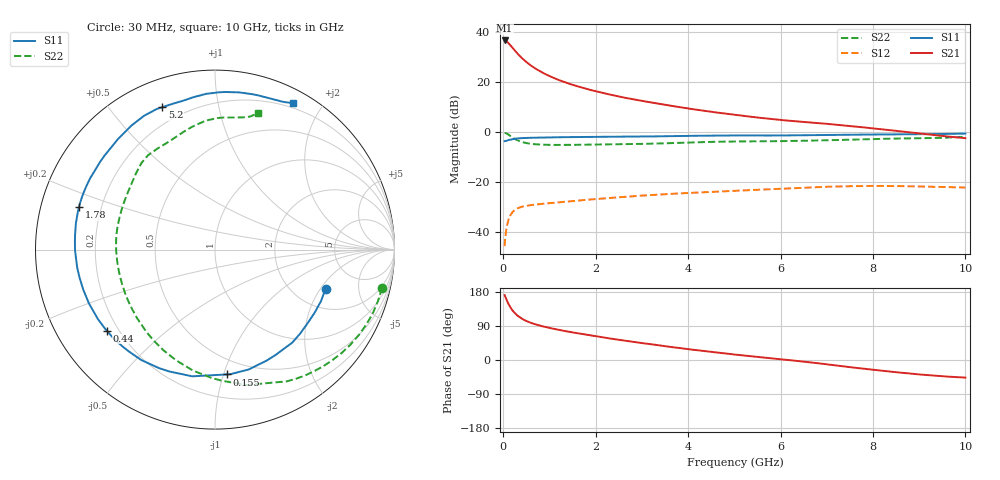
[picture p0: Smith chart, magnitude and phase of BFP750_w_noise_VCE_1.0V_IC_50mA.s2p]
! Infineon Technologies  Discrete & RF Semiconductors
! BFP750
! VCE =  1.0 V,  IC =  50 mA
! Common Emitter S-Parameters:  Jan 2016
# GHz  S  MA  R  50
!  f  S11  S21  S12  S22
! GHz  MAG  ANG  MAG  ANG  MAG  ANG  MAG  ANG
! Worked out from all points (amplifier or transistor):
!   229 points, 30 MHz to 10 GHz, reference 50 ohm
!   highest |S21| = 36.5 dB at 30 MHz (marker M1)
!   |S21| within 3 dB of that: start of sweep to 203.8 MHz
!   unconditionally stable (mu >= 1): 3.576 GHz to end of sweep
!   at 280 MHz: K = 0.17, MSG = 31.4 dB, |S12| = -30.8 dB
!   at 1.78 GHz: K = 0.72, MSG = 22.3 dB, |S12| = -27.2 dB
!   at 10 GHz: K = 1.11, MAG = 7.9 dB, |S12| = -22.2 dB
!   lowest NFmin = 1.04 dB at 450 MHz
!   S11 on the Smith chart (normalised r, x): 30 MHz: 2.93, -2.24; 155 MHz: 0.38, -1.02; 440 MHz: 0.16, -0.33; 1.78 GHz: 0.12, +0.15; 5.2 GHz: 0.12, +0.69; 10 GHz: 0.15, +1.65
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0.03  0.6536 -19.6  67.13 171.3  0.0052 79.2  0.9548 -12.9
0.05  0.6571 -32.4  66.39 164.8  0.0085 75.9  0.9481 -22.1
0.09  0.6731 -55.4  62.31 153.9  0.0145 65.9  0.9109 -39.2
0.12  0.6859 -70.1  58.45 146.4  0.0183 59.6  0.874 -50.8
0.155  0.6985 -84.7  53.82 139.1  0.0216 53.4  0.8269 -62.9
0.2  0.7173 -100.2  47.98 130.8  0.0249 46.6  0.7749 -76.8
0.24  0.725 -110.5  43.43 125.3  0.027 42.2  0.7321 -86.8
0.3  0.7399 -123.8  37.46 117.8  0.0294 36.9  0.685 -100.3
0.36  0.7458 -133.3  32.74 112.4  0.031 33.1  0.6482 -110.9
0.44  0.7533 -143.2  27.83 106.4  0.0325 29.6  0.6148 -122.4
0.6  0.7637 -156.9  21.14 97.9  0.0344 25.4  0.5774 -139.3
0.9  0.7742 -172.4  14.44 87.4  0.0369 22.4  0.5532 -158.5
1.2  0.7818 177.2  10.89 79.6  0.0391 21.4  0.5489 -170.7
1.7  0.7927 164.5  7.687 68.7  0.043 20.7  0.5529 175.4
1.78  0.794 162.7  7.328 67.0  0.0436 20.5  0.5538 173.6
2.54  0.8015 147.6  5.008 52.6  0.0496 18.4  0.5648 157.8
3.4  0.8158 132.9  3.598 38.2  0.0563 14.6  0.5875 143.7
5.1  0.847 111.4  2.143 13.3  0.0671 5.6  0.6447 124.3
5.2  0.8463 110.3  2.09 12.1  0.0677 4.9  0.645 123.1
6.8  0.8637 95.2  1.498 -8.4  0.0785 -5.8  0.6729 106.5
8.4  0.8904 76.5  1.073 -30.9  0.0828 -21.0  0.733 88.9
10  0.9241 62.1  0.749 -46.5  0.0772 -32.0  0.797 72.5
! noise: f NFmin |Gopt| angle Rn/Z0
0.45  1.04  0.18  -167  0.47
0.9  1.06  0.23  -161  0.24
1.5  1.08  0.34  -155  0.09
1.9  1.09  0.36  -150  0.08
2.4  1.1  0.37  -143  0.09
3.5  1.33  0.38  -128  0.1
